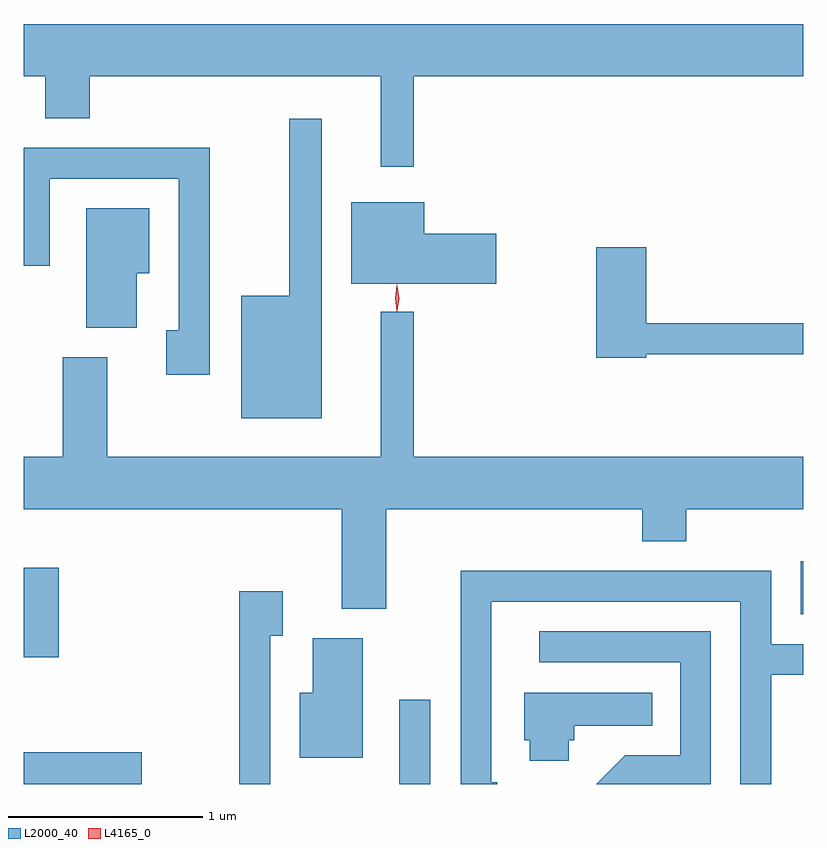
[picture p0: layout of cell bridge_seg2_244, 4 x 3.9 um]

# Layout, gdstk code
import gdstk
lib = gdstk.Library(unit=1e-6, precision=1e-09)
def R(c, l, rs):  # rectangles x0, y0, x1, y1
    for r in rs: c.add(gdstk.rectangle(r[:2], r[2:], *l))
def P(c, l, *ps):  # polygons
    for p in ps: c.add(gdstk.Polygon(p, *l))
L2000_40 = (2000, 40)
L4165_0 = (4165, 0)

bridge_seg2_244 = lib.new_cell('bridge_seg2_244')
R(bridge_seg2_244, L2000_40, [(484.279,1095.746,484.884,1095.909), (486.206,1095.746,486.364,1096.178), (484.279,1096.396,484.459,1096.854), (488.266,1096.616,488.279,1096.888)])
P(bridge_seg2_244, L2000_40, [(486.279,1099.376),(488.279,1099.376),(488.279,1099.644),(484.279,1099.644),(484.279,1099.376),(484.391,1099.376),(484.391,1099.161),(484.619,1099.161),(484.619,1099.376),(486.111,1099.376),(486.111,1098.913),(486.279,1098.913)],
  [(485.809,1099.158),(485.641,1099.158),(485.641,1098.249),(485.396,1098.249),(485.396,1097.621),(485.809,1097.621)],
  [(485.234,1099.009),(484.279,1099.009),(484.279,1098.403),(484.414,1098.403),(484.414,1098.851),(485.076,1098.851),(485.076,1098.074),(485.011,1098.074),(485.011,1097.846),(485.234,1097.846)],
  [(486.704,1098.569),(486.334,1098.569),(486.334,1098.729),(485.961,1098.729),(485.961,1098.311),(486.704,1098.311)],
  [(484.859,1098.366),(484.924,1098.366),(484.924,1098.699),(484.601,1098.699),(484.601,1098.086),(484.859,1098.086)],
  [(487.474,1097.951),(488.279,1097.951),(488.279,1098.109),(487.474,1098.109),(487.474,1098.499),(487.216,1098.499),(487.216,1097.931),(487.474,1097.931)],
  [(486.139,1097.156),(487.451,1097.156),(487.451,1096.991),(487.679,1096.991),(487.679,1097.156),(488.279,1097.156),(488.279,1097.424),(486.279,1097.424),(486.279,1098.168),(486.111,1098.168),(486.111,1097.424),(484.709,1097.424),(484.709,1097.934),(484.481,1097.934),(484.481,1097.424),(484.279,1097.424),(484.279,1097.156),(485.911,1097.156),(485.911,1096.646),(486.139,1096.646)],
  [(486.709,1095.754),(486.679,1095.754),(486.679,1096.681),(487.956,1096.681),(487.956,1095.746),(488.114,1095.746),(488.114,1096.306),(488.279,1096.306),(488.279,1096.464),(488.114,1096.464),(488.114,1096.839),(486.521,1096.839),(486.521,1095.746),(486.709,1095.746)],
  [(485.544,1096.506),(485.609,1096.506),(485.609,1096.734),(485.386,1096.734),(485.386,1095.746),(485.544,1095.746)],
  [(487.804,1096.529),(486.923,1096.529),(486.923,1096.371),(487.646,1096.371),(487.646,1095.894),(487.364,1095.894),(487.216,1095.746),(487.804,1095.746)],
  [(486.019,1096.494),(485.761,1096.494),(485.761,1096.214),(485.696,1096.214),(485.696,1095.881),(486.019,1095.881)],
  [(487.074,1095.971),(487.104,1095.971),(487.104,1096.046),(487.503,1096.046),(487.503,1096.214),(486.846,1096.214),(486.846,1095.971),(486.876,1095.971),(486.876,1095.866),(487.074,1095.866)])
P(bridge_seg2_244, L4165_0, [(486.194,1098.17),(486.185,1098.238),(486.194,1098.305),(486.194,1098.306),(486.195,1098.305),(486.204,1098.238),(486.196,1098.17),(486.195,1098.17)],
  [(486.195,1098.173),(486.194,1098.174),(486.185,1098.236),(486.194,1098.3),(486.194,1098.3),(486.195,1098.3),(486.205,1098.236),(486.196,1098.174)])

lib.write_gds('bridge_seg2_244.gds')
